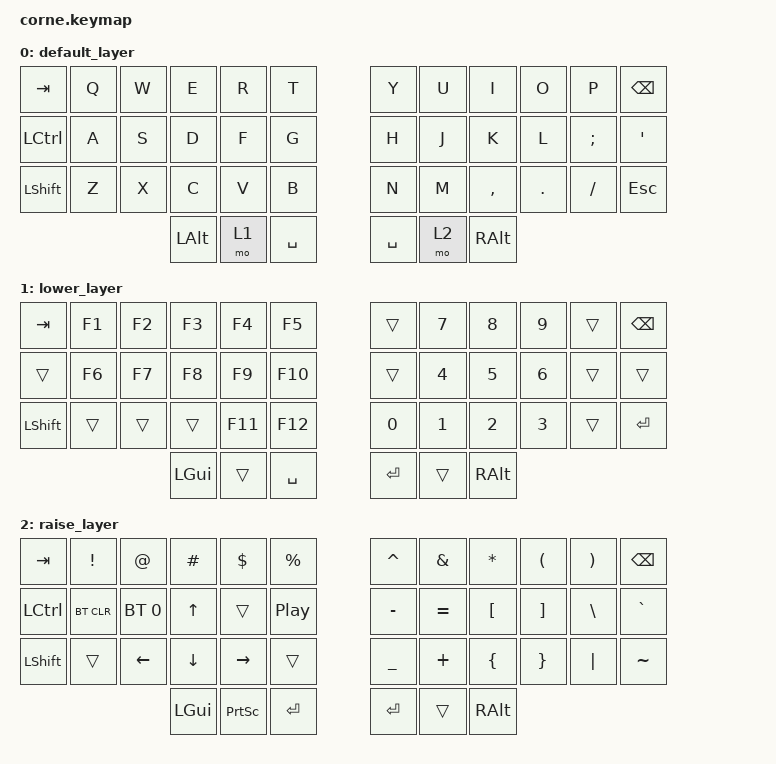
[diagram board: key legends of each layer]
/*
 * Copyright (c) 2020 The ZMK Contributors
 *
 * SPDX-License-Identifier: MIT
 */

#include <behaviors.dtsi>
#include <dt-bindings/zmk/keys.h>
#include <dt-bindings/zmk/bt.h>

/ {
        keymap {
                compatible = "zmk,keymap";

                default_layer {
// -----------------------------------------------------------------------------------------
// |  TAB |  Q  |  W  |  E  |  R  |  T  |   |  Y  |  U   |  I  |  O  |  P  | BSPC |
// | CTRL |  A  |  S  |  D  |  F  |  G  |   |  H  |  J   |  K  |  L  |  ;  |  '   |
// | SHFT |  Z  |  X  |  C  |  V  |  B  |   |  N  |  M   |  ,  |  .  |  /  | ESC  |
//                    | ALT | LWR | SPC |   | SPC | RSE  | ALT |
                        bindings = <
   &kp TAB   &kp Q &kp W &kp E &kp R &kp T   &kp Y &kp U  &kp I     &kp O   &kp P    &kp BSPC
   &kp LCTRL &kp A &kp S &kp D &kp F &kp G   &kp H &kp J  &kp K     &kp L   &kp SEMI &kp SQT
   &kp LSHFT &kp Z &kp X &kp C &kp V &kp B   &kp N &kp M  &kp COMMA &kp DOT &kp FSLH &kp ESC
                  &kp LALT &mo 1 &kp SPACE   &kp SPACE &mo 2 &kp RALT
                        >;
                };
                lower_layer {
// -----------------------------------------------------------------------------------------
// |  TAB | F1  | F2  | F3  | F4  | F5  |   |     |  7  |  8  |  9  |     | BSPC |
// |      | F6  | F7  | F8  | F9  | F10 |   |     |  4  |  5  |  6  |     |      |
// | SHFT |     |     |     |F11  |f12  |   |  0  |  1  |  2  |  3  |     | entr |
//                    | GUI |     | SPC |   | ENT |     | ALT |
                        bindings = <
   &kp TAB    &kp F1       &kp F2       &kp F3       &kp F4       &kp F5         &trans   &kp N7  &kp N8  &kp N9    &trans &kp BSPC
   &trans     &kp F6       &kp F7       &kp F8       &kp F9       &kp F10        &trans   &kp N4  &kp N5  &kp N6    &trans &trans
   &kp LSHFT  &trans       &trans       &trans       &kp F11      &kp F12        &kp N0   &kp N1  &kp N2  &kp N3   &trans &kp RET
                                    &kp LGUI     &trans       &kp SPACE      &kp RET  &trans   &kp RALT
                        >;
                };

                raise_layer {
// -----------------------------------------------------------------------------------------
// |  TAB |  !  |  @  |  #  |  $  |  %  |   |  ^  |  &  |  *  |  (  |  )  | BSPC |
// | CTRL |BTCLR|BT1  | UP  |     | play|   |  -  |  =  |  [  |  ]  |  \  |  `   |
// | SHFT |     |LEFt |DOWN |RIGHT|     |   |  _  |  +  |  {  |  }  | "|" |  ~   |
//                    | GUI | SS  | ENT |   | ENT |     | ALT |
                        bindings = <
   &kp  TAB  &kp EXCL &kp AT &kp HASH &kp DLLR &kp PRCNT   &kp CARET &kp AMPS  &kp ASTRK &kp LPAR &kp RPAR &kp BSPC
   &kp LCTRL &bt BT_CLR   &bt BT_SEL 0 &kp UP   &trans   &kp C_PP      &kp MINUS &kp EQUAL &kp LBKT  &kp RBKT &kp BSLH &kp GRAVE
   &kp LSHFT &trans   &kp LEFT &kp DOWN  &kp RIGHT   &trans      &kp UNDER &kp PLUS  &kp LBRC  &kp RBRC &kp PIPE &kp TILDE
                             &kp LGUI &kp PSCRN   &kp RET   &kp RET   &trans    &kp RALT
                        >;
                };
        };
};
